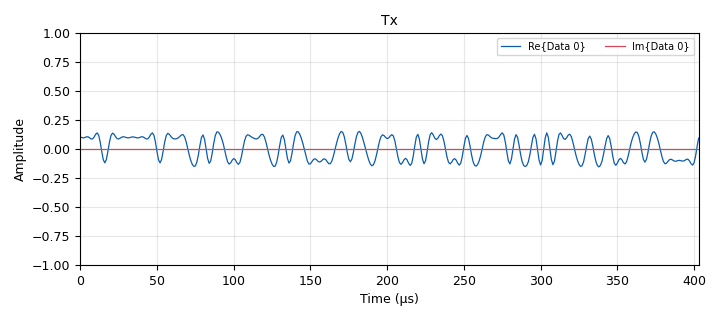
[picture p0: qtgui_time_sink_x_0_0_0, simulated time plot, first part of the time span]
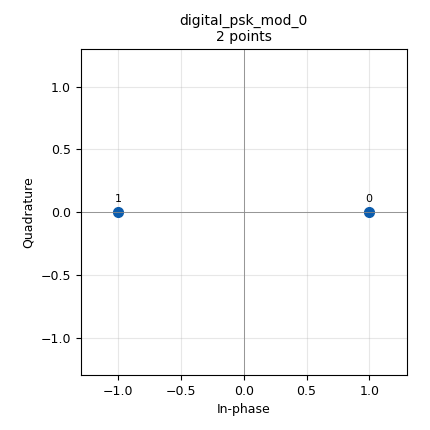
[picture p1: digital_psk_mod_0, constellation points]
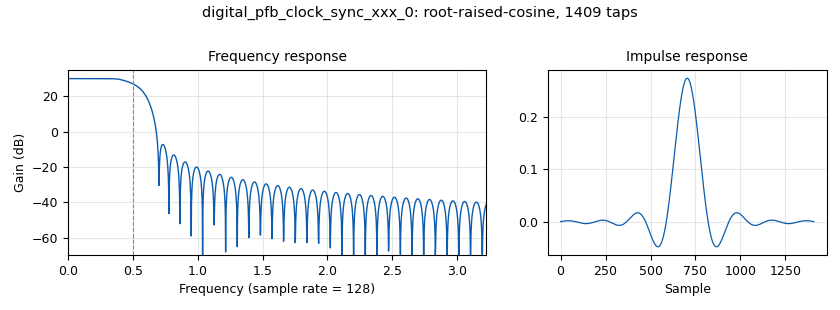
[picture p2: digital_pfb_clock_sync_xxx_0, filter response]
<?xml version='1.0' encoding='utf-8'?>
<?grc format='1' created='3.7.8'?>
<flow_graph>
<block>
<key>options</key>
<param><key>id</key><value>top_block</value></param>
<param><key>category</key><value>Custom</value></param>
<param><key>generate_options</key><value>qt_gui</value></param>
</block>
<block>
<key>variable</key>
<param><key>id</key><value>costas</value></param>
<param><key>value</key><value>range_costas</value></param>
</block>
<block>
<key>variable</key>
<param><key>id</key><value>matched_filter</value></param>
<param><key>value</key><value>firdes.root_raised_cosine(sps, sps, 1, 0.35, int(11*sps))</value></param>
</block>
<block>
<key>variable</key>
<param><key>id</key><value>mm</value></param>
<param><key>value</key><value>range_mm</value></param>
</block>
<block>
<key>variable</key>
<param><key>id</key><value>mm2</value></param>
<param><key>value</key><value>range_mm2</value></param>
</block>
<block>
<key>variable</key>
<param><key>id</key><value>mm3</value></param>
<param><key>value</key><value>range_mm3</value></param>
</block>
<block>
<key>variable</key>
<param><key>id</key><value>nfilts</value></param>
<param><key>value</key><value>32</value></param>
</block>
<block>
<key>variable_qtgui_range</key>
<param><key>id</key><value>range_costas</value></param>
<param><key>value</key><value>0.6</value></param>
<param><key>label</key><value>costas</value></param>
<param><key>orient</key><value>Qt.Horizontal</value></param>
<param><key>start</key><value>0</value></param>
<param><key>step</key><value>0.001</value></param>
<param><key>stop</key><value>1</value></param>
</block>
<block>
<key>variable_qtgui_range</key>
<param><key>id</key><value>range_mm</value></param>
<param><key>value</key><value>0.6</value></param>
<param><key>label</key><value>mm1</value></param>
<param><key>orient</key><value>Qt.Horizontal</value></param>
<param><key>start</key><value>0</value></param>
<param><key>step</key><value>0.001</value></param>
<param><key>stop</key><value>1</value></param>
</block>
<block>
<key>variable_qtgui_range</key>
<param><key>id</key><value>range_mm2</value></param>
<param><key>value</key><value>0.6</value></param>
<param><key>label</key><value>mm2</value></param>
<param><key>orient</key><value>Qt.Horizontal</value></param>
<param><key>start</key><value>0</value></param>
<param><key>step</key><value>0.001</value></param>
<param><key>stop</key><value>1</value></param>
</block>
<block>
<key>variable_qtgui_range</key>
<param><key>id</key><value>range_mm3</value></param>
<param><key>value</key><value>0.6</value></param>
<param><key>label</key><value>mm3</value></param>
<param><key>orient</key><value>Qt.Horizontal</value></param>
<param><key>start</key><value>0</value></param>
<param><key>step</key><value>0.001</value></param>
<param><key>stop</key><value>1</value></param>
</block>
<block>
<key>variable_qtgui_range</key>
<param><key>id</key><value>range_rx_gain</value></param>
<param><key>value</key><value>10</value></param>
<param><key>label</key><value>rx gain</value></param>
<param><key>orient</key><value>Qt.Horizontal</value></param>
<param><key>start</key><value>0</value></param>
<param><key>step</key><value>1</value></param>
<param><key>stop</key><value>60</value></param>
</block>
<block>
<key>variable_qtgui_range</key>
<param><key>id</key><value>range_tx_gain</value></param>
<param><key>value</key><value>10</value></param>
<param><key>label</key><value>tx gain</value></param>
<param><key>orient</key><value>Qt.Horizontal</value></param>
<param><key>start</key><value>0</value></param>
<param><key>step</key><value>1</value></param>
<param><key>stop</key><value>60</value></param>
</block>
<block>
<key>variable_rrc_filter_taps</key>
<param><key>id</key><value>rrc</value></param>
<param><key>alpha</key><value>1</value></param>
<param><key>gain</key><value>1.0</value></param>
<param><key>ntaps</key><value>16</value></param>
<param><key>samp_rate</key><value>samp_rate</value></param>
<param><key>sym_rate</key><value>samp_rate / 8</value></param>
</block>
<block>
<key>variable</key>
<param><key>id</key><value>rx_gain</value></param>
<param><key>value</key><value>range_rx_gain</value></param>
</block>
<block>
<key>variable</key>
<param><key>id</key><value>samp_rate</value></param>
<param><key>value</key><value>1e6</value></param>
</block>
<block>
<key>variable</key>
<param><key>id</key><value>sps</value></param>
<param><key>value</key><value>4</value></param>
</block>
<block>
<key>variable</key>
<param><key>id</key><value>tx_gain</value></param>
<param><key>value</key><value>range_tx_gain</value></param>
</block>
<block>
<key>analog_random_source_x</key>
<param><key>id</key><value>analog_random_source_x_0</value></param>
<param><key>max</key><value>255</value></param>
<param><key>min</key><value>0</value></param>
<param><key>num_samps</key><value>1000</value></param>
<param><key>type</key><value>byte</value></param>
<param><key>repeat</key><value>True</value></param>
</block>
<block>
<key>blocks_multiply_const_vxx</key>
<param><key>id</key><value>blocks_multiply_const_vxx_0</value></param>
<param><key>const</key><value>0.1</value></param>
<param><key>type</key><value>complex</value></param>
</block>
<block>
<key>blocks_multiply_const_vxx</key>
<param><key>id</key><value>blocks_multiply_const_vxx_0_0</value></param>
<param><key>const</key><value>1.5</value></param>
<param><key>type</key><value>complex</value></param>
</block>
<block>
<key>digital_costas_loop_cc</key>
<param><key>id</key><value>digital_costas_loop_cc_0</value></param>
<param><key>_enabled</key><value>False</value></param>
<param><key>w</key><value>costas</value></param>
<param><key>order</key><value>2</value></param>
</block>
<block>
<key>digital_pfb_clock_sync_xxx</key>
<param><key>id</key><value>digital_pfb_clock_sync_xxx_0</value></param>
<param><key>filter_size</key><value>32</value></param>
<param><key>init_phase</key><value>16</value></param>
<param><key>loop_bw</key><value>6/100</value></param>
<param><key>max_dev</key><value>1.5</value></param>
<param><key>osps</key><value>1</value></param>
<param><key>sps</key><value>sps</value></param>
<param><key>taps</key><value>firdes.root_raised_cosine(32, 32*sps, 1.0, 0.35, 11*sps*32)</value></param>
<param><key>type</key><value>ccf</value></param>
</block>
<block>
<key>digital_psk_mod</key>
<param><key>id</key><value>digital_psk_mod_0</value></param>
<param><key>differential</key><value>False</value></param>
<param><key>excess_bw</key><value>0.35</value></param>
<param><key>mod_code</key><value>"none"</value></param>
<param><key>constellation_points</key><value>2</value></param>
<param><key>samples_per_symbol</key><value>sps</value></param>
</block>
<block>
<key>import</key>
<param><key>id</key><value>import_0</value></param>
<param><key>import</key><value>import scipy</value></param>
</block>
<block>
<key>qtgui_const_sink_x</key>
<param><key>id</key><value>qtgui_const_sink_x_0_0</value></param>
<param><key>name</key><value>"RRC Out"</value></param>
<param><key>size</key><value>1024</value></param>
<param><key>type</key><value>complex</value></param>
</block>
<block>
<key>qtgui_const_sink_x</key>
<param><key>id</key><value>qtgui_const_sink_x_0_0_0</value></param>
<param><key>name</key><value>"Rx Out"</value></param>
<param><key>size</key><value>1024</value></param>
<param><key>type</key><value>complex</value></param>
</block>
<block>
<key>qtgui_freq_sink_x</key>
<param><key>id</key><value>qtgui_freq_sink_x_0</value></param>
<param><key>bw</key><value>samp_rate</value></param>
<param><key>fc</key><value>0</value></param>
<param><key>fftsize</key><value>1024</value></param>
<param><key>showports</key><value>True</value></param>
<param><key>type</key><value>complex</value></param>
<param><key>wintype</key><value>firdes.WIN_BLACKMAN_hARRIS</value></param>
</block>
<block>
<key>qtgui_time_sink_x</key>
<param><key>id</key><value>qtgui_time_sink_x_0_0_0</value></param>
<param><key>color1</key><value>"blue"</value></param>
<param><key>label1</key><value></value></param>
<param><key>color2</key><value>"red"</value></param>
<param><key>label2</key><value></value></param>
<param><key>name</key><value>"Tx"</value></param>
<param><key>size</key><value>1024</value></param>
<param><key>srate</key><value>samp_rate</value></param>
<param><key>type</key><value>complex</value></param>
</block>
<block>
<key>uhd_usrp_sink</key>
<param><key>id</key><value>uhd_usrp_sink_0</value></param>
<param><key>ant0</key><value>""</value></param>
<param><key>center_freq0</key><value>5e9</value></param>
<param><key>norm_gain0</key><value>False</value></param>
<param><key>gain0</key><value>tx_gain</value></param>
<param><key>clock_rate</key><value>0.0</value></param>
<param><key>dev_args</key><value>""</value></param>
<param><key>type</key><value>fc32</value></param>
<param><key>sd_spec0</key><value>"A:B"</value></param>
<param><key>samp_rate</key><value>samp_rate</value></param>
<param><key>sync</key><value></value></param>
</block>
<block>
<key>uhd_usrp_source</key>
<param><key>id</key><value>uhd_usrp_source_0</value></param>
<param><key>ant0</key><value></value></param>
<param><key>center_freq0</key><value>uhd.tune_request(5e9, 100e3)</value></param>
<param><key>norm_gain0</key><value>False</value></param>
<param><key>gain0</key><value>rx_gain</value></param>
<param><key>clock_rate</key><value>0.0</value></param>
<param><key>dev_args</key><value>""</value></param>
<param><key>sd_spec0</key><value>"A:B"</value></param>
<param><key>type</key><value>fc32</value></param>
<param><key>samp_rate</key><value>samp_rate</value></param>
<param><key>sync</key><value></value></param>
</block>
<connection><source_block_id>analog_random_source_x_0</source_block_id><sink_block_id>digital_psk_mod_0</sink_block_id><source_key>0</source_key><sink_key>0</sink_key></connection>
<connection><source_block_id>blocks_multiply_const_vxx_0</source_block_id><sink_block_id>qtgui_time_sink_x_0_0_0</sink_block_id><source_key>0</source_key><sink_key>0</sink_key></connection>
<connection><source_block_id>blocks_multiply_const_vxx_0</source_block_id><sink_block_id>uhd_usrp_sink_0</sink_block_id><source_key>0</source_key><sink_key>0</sink_key></connection>
<connection><source_block_id>blocks_multiply_const_vxx_0_0</source_block_id><sink_block_id>digital_pfb_clock_sync_xxx_0</sink_block_id><source_key>0</source_key><sink_key>0</sink_key></connection>
<connection><source_block_id>blocks_multiply_const_vxx_0_0</source_block_id><sink_block_id>qtgui_const_sink_x_0_0_0</sink_block_id><source_key>0</source_key><sink_key>0</sink_key></connection>
<connection><source_block_id>blocks_multiply_const_vxx_0_0</source_block_id><sink_block_id>qtgui_freq_sink_x_0</sink_block_id><source_key>0</source_key><sink_key>0</sink_key></connection>
<connection><source_block_id>digital_pfb_clock_sync_xxx_0</source_block_id><sink_block_id>qtgui_const_sink_x_0_0</sink_block_id><source_key>0</source_key><sink_key>0</sink_key></connection>
<connection><source_block_id>digital_psk_mod_0</source_block_id><sink_block_id>blocks_multiply_const_vxx_0</sink_block_id><source_key>0</source_key><sink_key>0</sink_key></connection>
<connection><source_block_id>uhd_usrp_source_0</source_block_id><sink_block_id>blocks_multiply_const_vxx_0_0</sink_block_id><source_key>0</source_key><sink_key>0</sink_key></connection>
</flow_graph>
